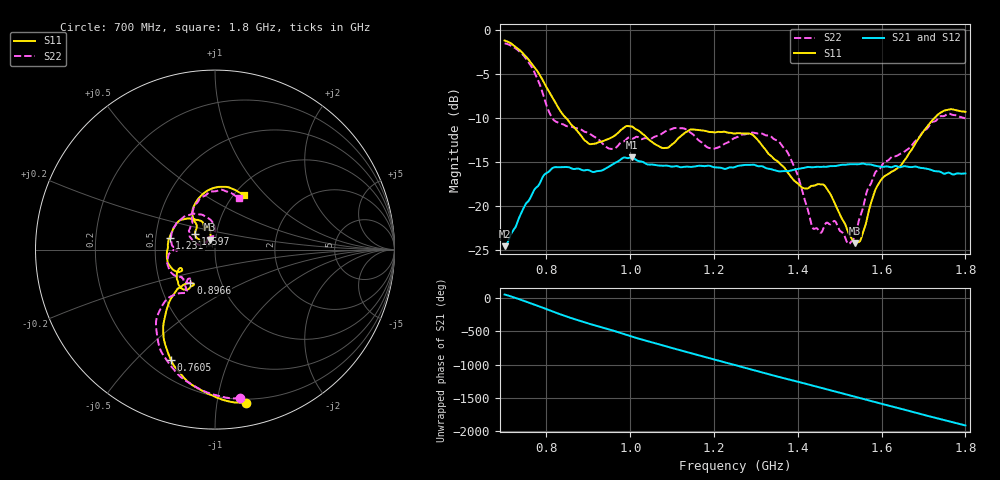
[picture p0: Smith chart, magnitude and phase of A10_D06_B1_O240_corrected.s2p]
! Created with skrf 1.9.0 (http://scikit-rf.org).
# Hz S RI R 50.0
!freq ReS11 ImS11 ReS21 ImS21 ReS12 ImS12 ReS22 ImS22
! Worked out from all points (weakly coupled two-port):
!   1601 points, 700 MHz to 1.8 GHz, reference 50 ohm
!   highest |S21| = -14.46 dB at 1.003 GHz (marker M1); lowest = -24.5 dB at 700 MHz (marker M2)
!   lowest |S11| = -24.2 dB at 1.536 GHz (marker M3), VSWR 1.13, Z = 47 + j5.19 ohm
!   |S11| at or under -10 dB: 846.9 MHz to 1.726 GHz (879 MHz wide, 68.3 % of centre)
!   |S22| runs from -24.3 to -1.5 dB; largest |S21 - S12| = 0.0034
!   S11 on the Smith chart (normalised r, x): 700 MHz: 0.17, -1.21; 760.5 MHz: 0.29, -0.64; 896.6 MHz: 0.71, -0.28; 1.231 GHz: 0.59, +0.09; 1.597 GHz: 0.79, +0.14; 1.8 GHz: 1.11, +0.76
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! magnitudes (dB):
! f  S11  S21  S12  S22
! 700 MHz  -1.2  -24.5  -24.3  -1.5
! 760.5 MHz  -3.6  -19.1  -19.0  -3.9
! 815.5 MHz  -7.8  -15.6  -15.7  -10.1
! 883.6 MHz  -12.0  -15.9  -15.8  -11.3
! 896.6 MHz  -12.7  -15.9  -16.0  -11.6
! 953 MHz  -12.3  -15.4  -15.4  -13.5
! 1.003 GHz  -10.9  -14.5  -14.6  -12.3
! 1.067 GHz  -13.2  -15.4  -15.3  -12.0
! 1.145 GHz  -11.3  -15.5  -15.5  -11.7
! 1.231 GHz  -11.6  -15.7  -15.6  -12.8
! 1.25 GHz  -11.7  -15.5  -15.5  -12.3
! 1.292 GHz  -11.9  -15.3  -15.3  -11.6
! 1.357 GHz  -15.1  -16.0  -16.0  -12.8
! 1.395 GHz  -17.2  -15.8  -15.8  -15.9
! 1.434 GHz  -17.7  -15.6  -15.5  -22.3
! 1.467 GHz  -17.9  -15.5  -15.5  -21.9
! 1.536 GHz  -24.2  -15.2  -15.2  -23.5
! 1.567 GHz  -21.0  -15.3  -15.2  -18.0
! 1.597 GHz  -17.1  -15.5  -15.5  -15.7
! 1.617 GHz  -16.3  -15.5  -15.5  -14.7
! 1.735 GHz  -9.6  -16.0  -16.1  -10.0
! 1.8 GHz  -9.3  -16.3  -16.3  -10.0
